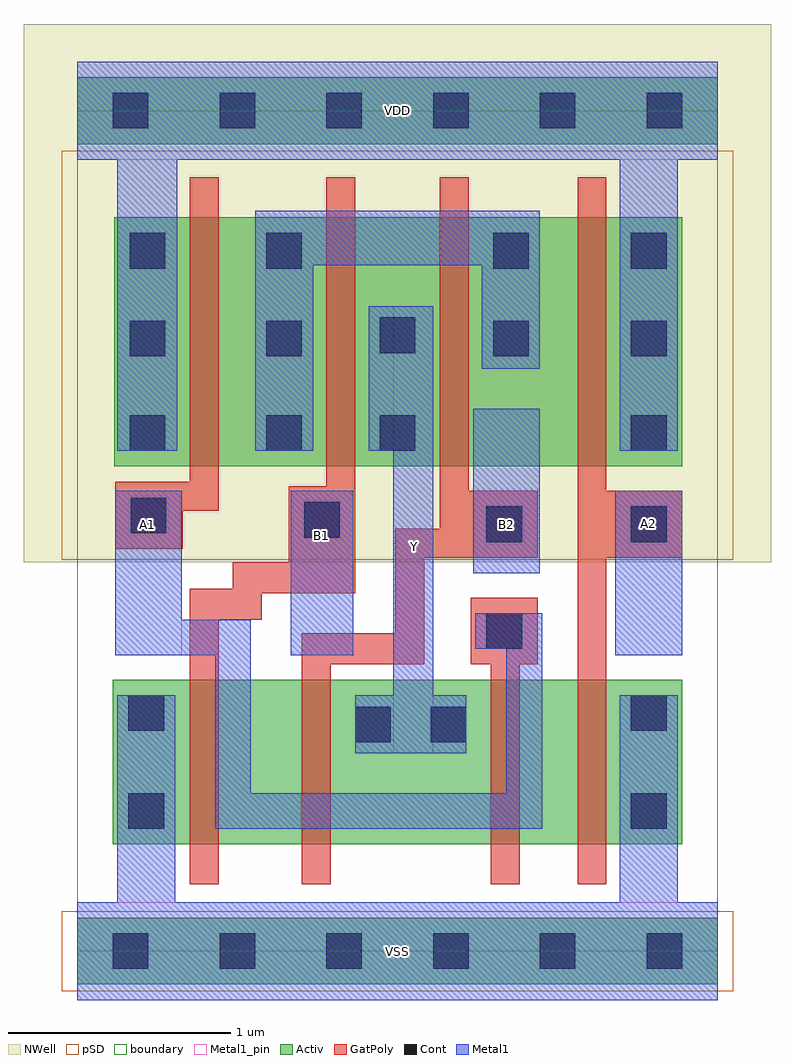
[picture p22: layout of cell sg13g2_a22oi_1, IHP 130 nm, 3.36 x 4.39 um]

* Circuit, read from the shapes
.subckt sg13g2_a22oi_1 A1 A2 B1 B2 VDD VSS Y
XM1 n1 B1 VSS VSS sg13_lv_nmos w=0.74u l=0.13u
XM2 Y B2 n1 VSS sg13_lv_nmos w=0.74u l=0.13u
XM3 n2 A1 Y VSS sg13_lv_nmos w=0.74u l=0.13u
XM4 VSS A2 n2 VSS sg13_lv_nmos w=0.74u l=0.13u
XM5 n3 A1 VDD VDD sg13_lv_pmos w=1.12u l=0.13u
XM6 Y B1 n3 VDD sg13_lv_pmos w=1.12u l=0.13u
XM7 n3 B2 Y VDD sg13_lv_pmos w=1.12u l=0.13u
XM8 VDD A2 n3 VDD sg13_lv_pmos w=1.12u l=0.13u
.ends

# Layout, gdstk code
import gdstk
lib = gdstk.Library(unit=1e-6, precision=1e-09)
def R(c, l, rs):  # rectangles x0, y0, x1, y1
    for r in rs: c.add(gdstk.rectangle(r[:2], r[2:], *l))
def A(c, l, x, y, w, h, nx, ny, dx, dy):  # array of equal rectangles
    R(c, l, [(x+i*dx, y+j*dy, x+i*dx+w, y+j*dy+h) for i in range(nx) for j in range(ny)])
def P(c, l, *ps):  # polygons
    for p in ps: c.add(gdstk.Polygon(p, *l))
Activ = (1, 0)
GatPoly = (5, 0)
Cont = (6, 0)
Metal1 = (8, 0)
Metal1_pin = (8, 2)
pSD = (14, 0)
NWell = (31, 0)
boundary = (189, 4)

sg13g2_a22oi_1 = lib.new_cell('sg13g2_a22oi_1')
R(sg13g2_a22oi_1, Activ, [(0,-0.15,2.88,0.15), (0.16,0.48,2.72,1.22), (0.165,2.18,2.72,3.3), (0,3.63,2.88,3.93)])
P(sg13g2_a22oi_1, GatPoly, [(1.25,3.48),(1.12,3.48),(1.12,2.09),(0.95,2.09),(0.95,1.75),(0.7,1.75),(0.7,1.63),(0.505,1.63),(0.505,0.3),(0.635,0.3),(0.635,1.49),(0.83,1.49),(0.83,1.61),(1.25,1.61)],
  [(2.72,2.07),(2.38,2.07),(2.38,3.48),(2.25,3.48),(2.25,0.3),(2.38,0.3),(2.38,1.77),(2.72,1.77)],
  [(2.07,1.59),(1.77,1.59),(1.77,1.29),(1.86,1.29),(1.86,0.3),(1.99,0.3),(1.99,1.29),(2.07,1.29)],
  [(0.635,3.48),(0.505,3.48),(0.505,2.11),(0.17,2.11),(0.17,1.81),(0.475,1.81),(0.475,1.98),(0.635,1.98)],
  [(2.07,2.07),(1.76,2.07),(1.76,3.48),(1.63,3.48),(1.63,1.9),(1.43,1.9),(1.43,1.43),(1.01,1.43),(1.01,0.3),(1.14,0.3),(1.14,1.29),(1.56,1.29),(1.56,1.77),(2.07,1.77)])
A(sg13g2_a22oi_1, Cont, 0.16, -0.08, 0.16, 0.16, 6, 2, 0.48, 3.78)
R(sg13g2_a22oi_1, Cont, [(0.23,0.55,0.39,0.71), (2.49,0.55,2.65,0.71), (1.25,0.94,1.41,1.1), (1.59,0.94,1.75,1.1), (0.23,0.99,0.39,1.15), (2.49,0.99,2.65,1.15), (1.84,1.36,2,1.52), (1.84,1.84,2,2), (2.49,1.84,2.65,2), (1.02,1.86,1.18,2.02), (0.24,1.88,0.4,2.04), (0.235,2.25,0.395,2.41), (0.85,2.25,1.01,2.41), (1.36,2.25,1.52,2.41), (2.49,2.25,2.65,2.41), (0.235,2.675,0.395,2.835), (0.85,2.675,1.01,2.835), (1.87,2.675,2.03,2.835), (2.49,2.675,2.65,2.835), (1.36,2.69,1.52,2.85), (0.235,3.07,0.395,3.23), (0.85,3.07,1.01,3.23), (1.87,3.07,2.03,3.23), (2.49,3.07,2.65,3.23)])
R(sg13g2_a22oi_1, Metal1, [(0.96,1.33,1.24,2.07), (2.42,1.33,2.72,2.07), (1.78,1.7,2.08,2.44)])
P(sg13g2_a22oi_1, Metal1, [(1.75,1.15),(1.6,1.15),(1.6,2.9),(1.31,2.9),(1.31,2.25),(1.42,2.25),(1.42,1.15),(1.25,1.15),(1.25,0.89),(1.75,0.89)],
  [(2.09,1.52),(1.79,1.52),(1.79,1.36),(1.93,1.36),(1.93,0.71),(0.78,0.71),(0.78,1.49),(0.47,1.49),(0.47,2.07),(0.17,2.07),(0.17,1.33),(0.62,1.33),(0.62,0.55),(2.09,0.55)],
  [(2.08,3.33),(0.8,3.33),(0.8,2.25),(1.06,2.25),(1.06,3.085),(1.82,3.085),(1.82,2.62),(2.08,2.62)],
  [(2.88,0.22),(2.7,0.22),(2.7,1.15),(2.44,1.15),(2.44,0.22),(0.44,0.22),(0.44,1.15),(0.18,1.15),(0.18,0.22),(0,0.22),(0,-0.22),(2.88,-0.22)],
  [(2.88,4),(0,4),(0,3.56),(0.18,3.56),(0.18,2.25),(0.45,2.25),(0.45,3.56),(2.44,3.56),(2.44,2.25),(2.7,2.25),(2.7,3.56),(2.88,3.56)])
R(sg13g2_a22oi_1, Metal1_pin, [(0,-0.22,2.88,0.22), (1.42,0.89,1.6,2.9), (0.17,1.33,0.47,2.07), (0.96,1.33,1.24,2.07), (2.42,1.33,2.72,2.07), (1.78,1.7,2.08,2.44), (0,3.56,2.88,4)])
R(sg13g2_a22oi_1, pSD, [(-0.07,-0.18,2.95,0.18), (-0.07,1.76,2.95,3.6)])
R(sg13g2_a22oi_1, NWell, [(-0.24,1.75,3.12,4.17)])
R(sg13g2_a22oi_1, boundary, [(0,0,2.88,3.78)])
sg13g2_a22oi_1.add(gdstk.Label('Y', (1.515,1.82), layer=8, texttype=25))
sg13g2_a22oi_1.add(gdstk.Label('A2', (2.57,1.925), layer=8, texttype=25))
sg13g2_a22oi_1.add(gdstk.Label('VDD', (1.44,3.78), layer=8, texttype=25))
sg13g2_a22oi_1.add(gdstk.Label('B1', (1.1,1.87), layer=8, texttype=25))
sg13g2_a22oi_1.add(gdstk.Label('VSS', (1.44,0), layer=8, texttype=25))
sg13g2_a22oi_1.add(gdstk.Label('A1', (0.315,1.92), layer=8, texttype=25))
sg13g2_a22oi_1.add(gdstk.Label('B2', (1.93,1.92), layer=8, texttype=25))

lib.write_gds('sg13g2_a22oi_1.gds')
